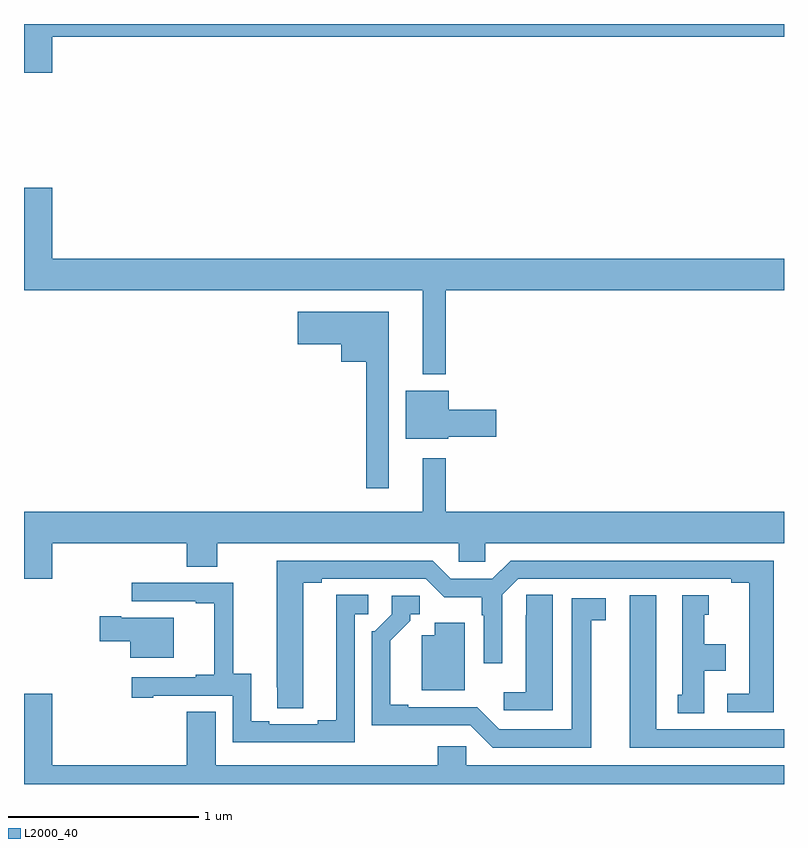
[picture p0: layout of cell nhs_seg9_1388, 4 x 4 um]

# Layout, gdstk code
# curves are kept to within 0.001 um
import gdstk
lib = gdstk.Library(unit=1e-6, precision=1e-09)
def P(c, l, *ps):  # polygons
    for p in ps: c.add(gdstk.Polygon(p, *l))
L2000_40 = (2000, 40)

nhs_seg9_1388 = lib.new_cell('nhs_seg9_1388')
P(nhs_seg9_1388, L2000_40, [(189.148,1184.432),(193,1184.432),(193,1184.5),(189,1184.5),(189,1184.244),(189.148,1184.244)],
  [(191.221,1183.1),(193,1183.1),(193,1183.264),(189.148,1183.264),(189.148,1183.639),(189,1183.639),(189,1183.1),(191.099,1183.1),(191.099,1182.656),(191.221,1182.656)],
  [(190.921,1182.985),(190.44,1182.985),(190.44,1182.815),(190.67,1182.815),(190.67,1182.722),(190.8,1182.722),(190.8,1182.057),(190.921,1182.057)],
  [(191.232,1182.328),(191.485,1182.328),(191.485,1182.47),(191.236,1182.47),(191.236,1182.571),(191.009,1182.571),(191.009,1182.317),(191.232,1182.317)],
  [(189.148,1181.768),(189.857,1181.768),(189.857,1181.644),(190.017,1181.644),(190.017,1181.768),(191.289,1181.768),(191.289,1181.67),(191.427,1181.67),(191.427,1181.768),(193,1181.768),(193,1181.932),(191.221,1181.932),(191.221,1182.214),(191.099,1182.214),(191.099,1181.932),(189,1181.932),(189,1181.58),(189.148,1181.58)],
  [(192.946,1181.676),(191.561,1181.676),(191.465,1181.58),(191.247,1181.58),(191.151,1181.676),(190.331,1181.676),(190.332,1180.9),(190.471,1180.9),(190.471,1181.56),(190.567,1181.56),(190.567,1181.58),(191.115,1181.58),(191.212,1181.483),(191.409,1181.483),(191.409,1181.387),(191.421,1181.387),(191.421,1181.136),(191.517,1181.136),(191.517,1181.496),(191.601,1181.58),(192.722,1181.58),(192.722,1181.56),(192.818,1181.56),(192.818,1180.974),(192.702,1180.974),(192.702,1180.878),(192.946,1180.878)],
  [(190.74,1181.394),(190.813,1181.394),(190.813,1181.495),(190.643,1181.495),(190.643,1180.835),(190.547,1180.835),(190.547,1180.815),(190.291,1180.815),(190.291,1180.83),(190.195,1180.83),(190.195,1181.081),(190.101,1181.081),(190.101,1181.559),(189.567,1181.559),(189.567,1181.463),(189.905,1181.463),(189.905,1181.451),(190.001,1181.451),(190.001,1181.074),(189.905,1181.074),(189.905,1181.061),(189.567,1181.061),(189.567,1180.953),(189.679,1180.953),(189.679,1180.965),(190.098,1180.965),(190.098,1180.719),(190.74,1180.719)],
  [(191.782,1181.495),(191.643,1181.495),(191.643,1181.387),(191.642,1181.387),(191.642,1180.984),(191.526,1180.984),(191.526,1180.887),(191.782,1180.887)],
  [(193,1180.788),(192.328,1180.788),(192.328,1181.494),(192.188,1181.494),(192.188,1180.692),(193,1180.692)],
  [(192.58,1181.096),(192.694,1181.096),(192.694,1181.236),(192.58,1181.236),(192.58,1181.391),(192.604,1181.391),(192.604,1181.494),(192.464,1181.494),(192.464,1180.971),(192.44,1180.971),(192.44,1180.873),(192.58,1180.873)],
  [(191.986,1181.362),(192.061,1181.362),(192.061,1181.478),(191.882,1181.478),(191.882,1180.788),(191.502,1180.788),(191.385,1180.905),(191.023,1180.905),(191.023,1180.918),(190.927,1180.918),(190.927,1181.254),(191.032,1181.359),(191.032,1181.394),(191.083,1181.394),(191.083,1181.49),(190.935,1181.49),(190.935,1181.394),(190.845,1181.304),(190.83,1181.304),(190.83,1180.808),(191.349,1180.809),(191.466,1180.692),(191.986,1180.692)],
  [(189.787,1181.374),(189.511,1181.374),(189.511,1181.382),(189.399,1181.382),(189.399,1181.252),(189.56,1181.252),(189.56,1181.165),(189.787,1181.165)],
  [(191.32,1181.35),(191.162,1181.35),(191.162,1181.284),(191.093,1181.284),(191.093,1180.994),(191.32,1180.994)],
  [(193,1180.6),(191.328,1180.6),(191.328,1180.698),(191.177,1180.698),(191.177,1180.6),(190.009,1180.6),(190.009,1180.88),(189.857,1180.88),(189.857,1180.6),(189.148,1180.6),(189.148,1180.975),(189,1180.975),(189,1180.5),(193,1180.5)])

lib.write_gds('nhs_seg9_1388.gds')
